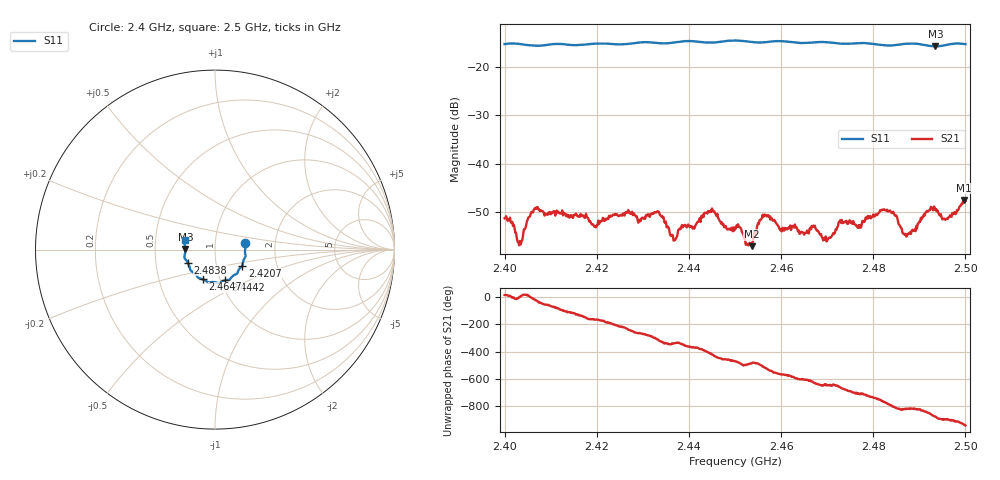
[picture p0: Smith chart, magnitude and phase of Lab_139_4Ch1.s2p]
# Hz S RI R 50
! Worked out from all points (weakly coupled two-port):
!   601 points, 2.4 GHz to 2.5 GHz, reference 50 ohm
!   highest |S21| = -47.59 dB at 2.4997 GHz (marker M1); lowest = -57.2 dB at 2.4537 GHz (marker M2)
!   lowest |S11| = -15.7 dB at 2.4935 GHz (marker M3), VSWR 1.39, Z = 35.9 + j0.125 ohm
!   |S11| at or under -10 dB: start of sweep to end of sweep
!   S12 and S22 are empty: the file has one direction only
!   S11 on the Smith chart (normalised r, x): 2.4 GHz: 1.40, +0.11; 2.4207 GHz: 1.33, -0.25; 2.4442 GHz: 1.06, -0.37; 2.4647 GHz: 0.83, -0.28; 2.4838 GHz: 0.73, -0.11; 2.5 GHz: 0.71, +0.08
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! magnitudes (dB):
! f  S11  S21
! 2.4 GHz  -15.2  -51.4
! 2.4033 GHz  -15.2  -56.1
! 2.4068 GHz  -15.5  -49.4
! 2.4167 GHz  -15.3  -50.8
! 2.4207 GHz  -15.1  -52.1
! 2.4333 GHz  -15.0  -50.1
! 2.437 GHz  -14.8  -55.9
! 2.4442 GHz  -14.9  -49.9
! 2.45 GHz  -14.4  -53.3
! 2.4537 GHz  -14.8  -57.2
! 2.4565 GHz  -14.8  -50.6
! 2.4647 GHz  -15.0  -54.3
! 2.4667 GHz  -14.9  -53.0
! 2.4703 GHz  -14.8  -55.5
! 2.473 GHz  -15.1  -52.3
! 2.4833 GHz  -15.5  -49.8
! 2.4838 GHz  -15.5  -50.1
! 2.4873 GHz  -15.1  -55.0
! 2.4935 GHz  -15.7  -49.7
! 2.4957 GHz  -15.4  -51.7
! 2.4997 GHz  -15.2  -47.6
! 2.5 GHz  -15.2  -47.8
